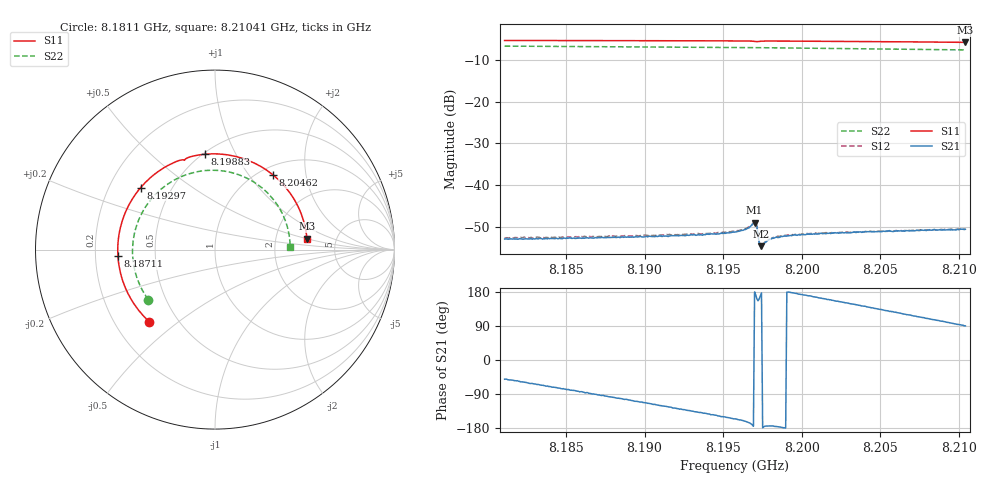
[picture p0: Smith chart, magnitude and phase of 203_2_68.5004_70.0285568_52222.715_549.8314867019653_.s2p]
#  HZ  S  RI  R  50.00
! Rohde & Schwarz Vector Network Analyzer
! Rohde-Schwarz,ZNB20-2Port,1311601062101988,3.16
! Created: UTC 3/20/2024, 4:57:42 PM
! freq[Hz]  re:S11  im:S11  re:S21  im:S21  re:S12  im:S12  re:S22  im:S22
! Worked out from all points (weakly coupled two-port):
!   401 points, 8.1811 GHz to 8.21041 GHz, reference 50 ohm
!   highest |S21| = -48.97 dB at 8.197 GHz (marker M1); lowest = -54.6 dB at 8.19744 GHz (marker M2)
!   lowest |S11| = -5.7 dB at 8.21041 GHz (marker M3), VSWR 3.13, Z = 152 + j25.2 ohm
!   |S11| at or under -10 dB: nowhere
!   |S22| runs from -7.6 to -6.7 dB; largest |S21 - S12| = 0.00017
!   S11 on the Smith chart (normalised r, x): 8.1811 GHz: 0.35, -0.40; 8.18711 GHz: 0.30, -0.03; 8.19297 GHz: 0.33, +0.33; 8.19883 GHz: 0.51, +0.76; 8.20462 GHz: 1.15, +1.32; 8.21041 GHz: 3.04, +0.50
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8.1811e9  -0.3653 -0.4027  0.00143 -0.00175  0.00149 -0.00181  -0.3724 -0.278
8.183665e9  -0.4749 -0.2634  0.000846 -0.00211  0.000889 -0.00217  -0.4367 -0.151
8.18601e9  -0.531 -0.1105  0.000258 -0.00229  0.000185 -0.00241  -0.4594 -0.0232
8.187109e9  -0.5411 -0.0345  -7.63e-05 -0.00235  -0.00015 -0.00242  -0.4571 0.0377
8.188941e9  -0.5334 0.0931  -0.000617 -0.00231  -0.000715 -0.00235  -0.4357 0.1371
8.19092e9  -0.4914 0.2248  -0.00121 -0.00213  -0.00129 -0.00215  -0.3886 0.2358
8.192972e9  -0.4138 0.3458  -0.00178 -0.00181  -0.00189 -0.00178  -0.3156 0.3233
8.195756e9  -0.2619 0.4688  -0.00248 -0.00114  -0.0026 -0.00105  -0.1857 0.4075
8.196416e9  -0.2192 0.4894  -0.00279 -0.000921  -0.00289 -0.000806  -0.1508 0.4205
8.196929e9  -0.1819 0.5001  -0.00345 -0.000305  -0.00355 -0.000202  -0.1231 0.4284
8.197002e9  -0.1763 0.4999  -0.00356 2.05e-05  -0.00361 0.000169  -0.1192 0.4294
8.197075e9  -0.1718 0.4986  -0.00351 0.000524  -0.00356 0.000688  -0.1152 0.4302
8.197368e9  -0.1626 0.5062  -0.00185 0.000342  -0.00185 0.000446  -0.0994 0.4339
8.197442e9  -0.1576 0.5093  -0.00185 9.74e-05  -0.00187 0.0002  -0.0952 0.4347
8.198028e9  -0.1156 0.5222  -0.00225 -0.000228  -0.00226 -0.000135  -0.0624 0.4397
8.198834e9  -0.0585 0.5311  -0.00244 -5.54e-05  -0.00245 5.33e-05  -0.0169 0.4423
8.200666e9  0.0709 0.5277  -0.00252 0.000545  -0.00254 0.000679  0.0864 0.4305
8.202645e9  0.2049 0.4884  -0.00237 0.00125  -0.00233 0.00138  0.192 0.3905
8.204623e9  0.3239 0.4154  -0.00199 0.0019  -0.00194 0.00199  0.2845 0.3238
8.205576e9  0.3735 0.3693  -0.00176 0.00224  -0.0017 0.00224  0.3224 0.2832
8.208067e9  0.4709 0.2223  -0.000948 0.00274  -0.000855 0.00274  0.3941 0.1552
8.210412e9  0.5123 0.0608  -8.03e-06 0.00295  7.2e-05 0.00296  0.4185 0.0168
